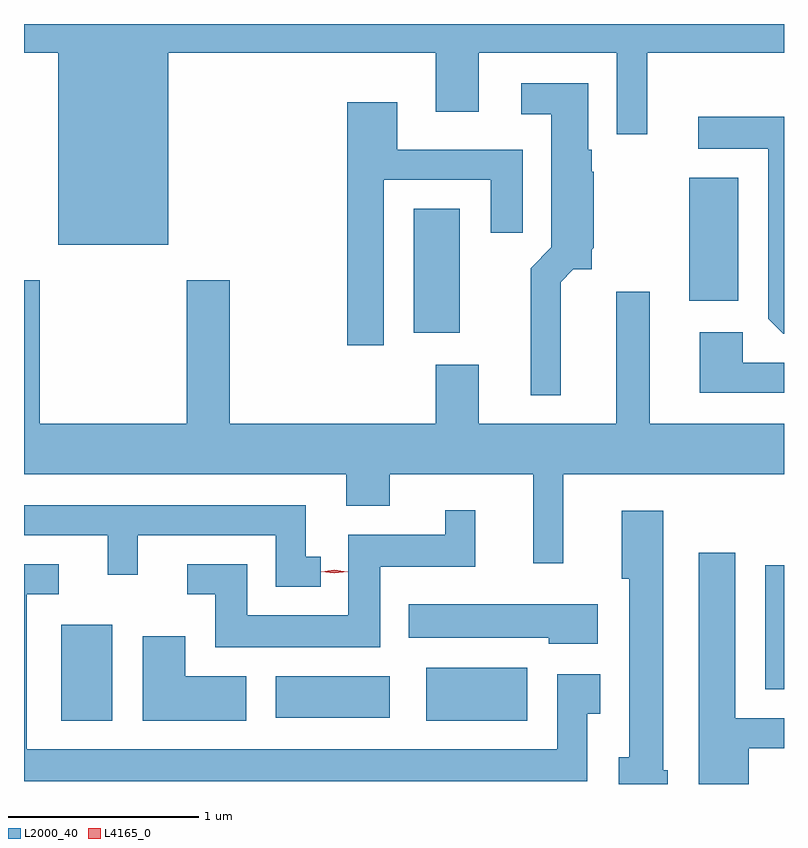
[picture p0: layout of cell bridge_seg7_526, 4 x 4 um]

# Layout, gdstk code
import gdstk
lib = gdstk.Library(unit=1e-6, precision=1e-09)
def R(c, l, rs):  # rectangles x0, y0, x1, y1
    for r in rs: c.add(gdstk.rectangle(r[:2], r[2:], *l))
def P(c, l, *ps):  # polygons
    for p in ps: c.add(gdstk.Polygon(p, *l))
L2000_40 = (2000, 40)
L4165_0 = (4165, 0)

bridge_seg7_526 = lib.new_cell('bridge_seg7_526')
R(bridge_seg7_526, L2000_40, [(918.291,1761.861,918.559,1762.364), (920.211,1761.861,920.744,1762.139), (919.421,1761.876,920.019,1762.094), (921.996,1762.026,922.095,1762.679), (920.146,1763.901,920.389,1764.554), (921.596,1764.071,921.854,1764.719)])
P(bridge_seg7_526, L2000_40, [(918.854,1765.376),(920.261,1765.376),(920.261,1765.066),(920.489,1765.066),(920.489,1765.376),(921.216,1765.376),(921.216,1764.948),(921.374,1764.948),(921.374,1765.376),(922.095,1765.376),(922.095,1765.527),(918.095,1765.527),(918.095,1765.376),(918.276,1765.376),(918.276,1764.366),(918.854,1764.366)],
  [(920.919,1764.169),(920.987,1764.236),(921.084,1764.236),(921.084,1764.339),(921.094,1764.349),(921.094,1764.75),(921.084,1764.75),(921.084,1764.864),(921.064,1764.864),(921.064,1765.214),(920.713,1765.214),(920.713,1765.051),(920.871,1765.051),(920.871,1764.352),(920.761,1764.242),(920.761,1763.573),(920.919,1763.573)],
  [(919.989,1764.706),(920.551,1764.706),(920.551,1764.428),(920.719,1764.428),(920.719,1764.864),(920.059,1764.864),(920.059,1765.114),(919.796,1765.114),(919.796,1763.836),(919.989,1763.836)],
  [(922.095,1765.039),(921.643,1765.039),(921.643,1764.871),(922.011,1764.871),(922.011,1763.977),(922.092,1763.896),(922.095,1763.896)],
  [(920.934,1763.156),(922.095,1763.156),(922.095,1763.424),(921.389,1763.424),(921.389,1764.119),(921.211,1764.119),(921.211,1763.424),(920.489,1763.424),(920.489,1763.734),(920.261,1763.734),(920.261,1763.424),(919.179,1763.424),(919.179,1764.179),(918.951,1764.179),(918.951,1763.424),(918.179,1763.424),(918.179,1764.179),(918.095,1764.179),(918.095,1763.156),(919.791,1763.156),(919.791,1762.991),(920.019,1762.991),(920.019,1763.156),(920.776,1763.156),(920.776,1762.688),(920.934,1762.688)],
  [(922.095,1763.744),(921.879,1763.744),(921.879,1763.904),(921.651,1763.904),(921.651,1763.586),(922.095,1763.586)],
  [(919.658,1762.724),(919.579,1762.724),(919.579,1762.994),(918.095,1762.994),(918.095,1762.836),(918.536,1762.836),(918.536,1762.628),(918.694,1762.628),(918.694,1762.836),(919.421,1762.836),(919.421,1762.566),(919.658,1762.566)],
  [(919.969,1762.671),(920.469,1762.671),(920.469,1762.968),(920.311,1762.968),(920.311,1762.839),(919.801,1762.839),(919.801,1762.414),(919.269,1762.414),(919.269,1762.684),(918.953,1762.684),(918.953,1762.526),(919.101,1762.526),(919.101,1762.246),(919.969,1762.246)],
  [(921.484,1761.599),(921.459,1761.599),(921.459,1762.964),(921.241,1762.964),(921.241,1762.606),(921.281,1762.606),(921.281,1761.669),(921.226,1761.669),(921.226,1761.527),(921.484,1761.527)],
  [(921.909,1761.716),(922.095,1761.716),(922.095,1761.874),(921.839,1761.874),(921.839,1762.744),(921.646,1762.744),(921.646,1761.527),(921.909,1761.527)],
  [(921.059,1761.896),(921.129,1761.896),(921.129,1762.104),(920.901,1762.104),(920.901,1761.709),(918.109,1761.709),(918.109,1762.526),(918.278,1762.526),(918.278,1762.684),(918.095,1762.684),(918.095,1761.541),(921.059,1761.541)],
  [(921.114,1762.474),(920.121,1762.474),(920.121,1762.296),(920.856,1762.296),(920.856,1762.266),(921.114,1762.266)],
  [(919.264,1762.094),(918.944,1762.094),(918.944,1762.304),(918.721,1762.304),(918.721,1761.861),(919.264,1761.861)])
P(bridge_seg7_526, L4165_0, [(919.728,1762.635),(919.659,1762.644),(919.659,1762.645),(919.659,1762.645),(919.728,1762.655),(919.798,1762.645),(919.798,1762.645),(919.798,1762.644)])

lib.write_gds('bridge_seg7_526.gds')
